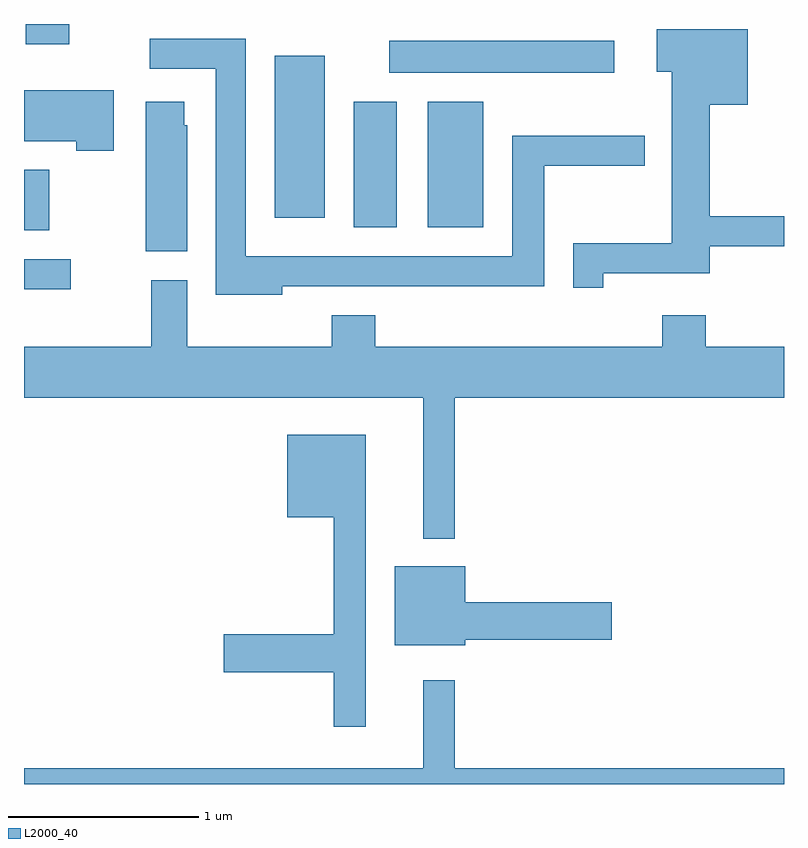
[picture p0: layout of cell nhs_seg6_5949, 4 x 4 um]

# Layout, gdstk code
import gdstk
lib = gdstk.Library(unit=1e-6, precision=1e-09)
def R(c, l, rs):  # rectangles x0, y0, x1, y1
    for r in rs: c.add(gdstk.rectangle(r[:2], r[2:], *l))
def P(c, l, *ps):  # polygons
    for p in ps: c.add(gdstk.Polygon(p, *l))
L2000_40 = (2000, 40)

nhs_seg6_5949 = lib.new_cell('nhs_seg6_5949')
R(nhs_seg6_5949, L2000_40, [(365.611,1612.766,365.858,1612.924), (365.611,1613.076,365.744,1613.394), (367.346,1613.091,367.574,1613.754), (367.736,1613.091,368.029,1613.754), (366.931,1613.141,367.194,1613.994), (367.533,1613.906,368.718,1614.074), (365.621,1614.056,365.849,1614.162)])
P(nhs_seg6_5949, L2000_40, [(368.659,1612.851),(369.219,1612.851),(369.219,1612.991),(369.611,1612.991),(369.611,1613.149),(369.219,1613.149),(369.219,1613.736),(369.419,1613.736),(369.419,1614.134),(368.941,1614.134),(368.941,1613.911),(369.021,1613.911),(369.021,1613.009),(368.501,1613.009),(368.501,1612.773),(368.659,1612.773)],
  [(366.969,1612.781),(368.349,1612.781),(368.349,1613.416),(368.878,1613.416),(368.878,1613.574),(368.181,1613.574),(368.181,1612.939),(366.779,1612.939),(366.779,1614.084),(366.273,1614.084),(366.273,1613.926),(366.621,1613.926),(366.621,1612.736),(366.969,1612.736)],
  [(366.084,1613.814),(365.611,1613.814),(365.611,1613.546),(365.886,1613.546),(365.886,1613.496),(366.084,1613.496)],
  [(366.469,1613.63),(366.454,1613.63),(366.454,1613.754),(366.251,1613.754),(366.251,1612.966),(366.469,1612.966)],
  [(367.879,1612.196),(369.611,1612.196),(369.611,1612.464),(369.199,1612.464),(369.199,1612.629),(368.971,1612.629),(368.971,1612.464),(367.459,1612.464),(367.459,1612.629),(367.231,1612.629),(367.231,1612.464),(366.469,1612.464),(366.469,1612.814),(366.281,1612.814),(366.281,1612.464),(365.611,1612.464),(365.611,1612.196),(367.711,1612.196),(367.711,1611.453),(367.879,1611.453)],
  [(367.409,1611.999),(366.996,1611.999),(366.996,1611.566),(367.241,1611.566),(367.241,1610.949),(366.661,1610.949),(366.661,1610.751),(367.241,1610.751),(367.241,1610.463),(367.409,1610.463)],
  [(367.934,1610.921),(368.704,1610.921),(368.704,1611.119),(367.934,1611.119),(367.934,1611.309),(367.561,1611.309),(367.561,1610.891),(367.934,1610.891)],
  [(369.611,1610.244),(367.879,1610.244),(367.879,1610.708),(367.711,1610.708),(367.711,1610.244),(365.611,1610.244),(365.611,1610.162),(369.611,1610.162)])

lib.write_gds('nhs_seg6_5949.gds')
